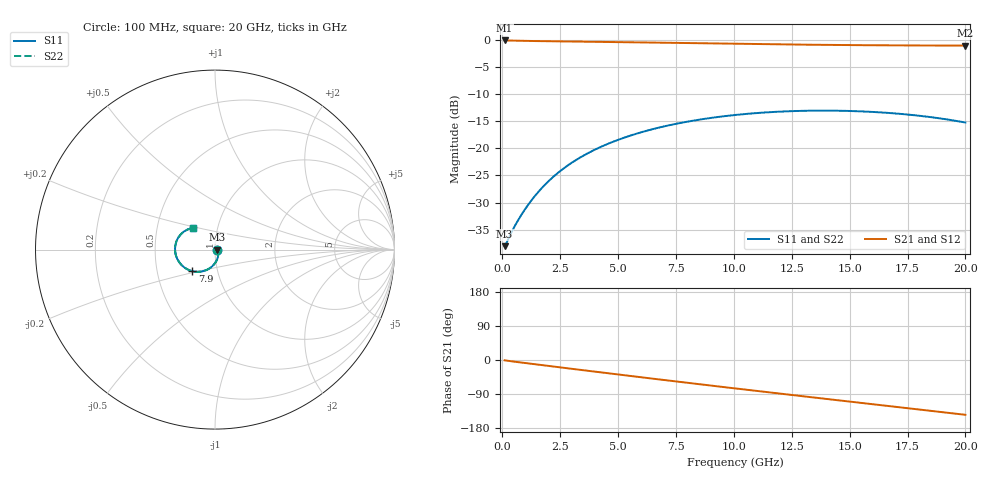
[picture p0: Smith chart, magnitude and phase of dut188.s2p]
! Touchstone file exported from HFSS 2026.1.0
!  File:  C:/ffzhzh/LocalFiles/Ansys_Project_Files/temp_train_TSV_RDL_188_1783058159_45820.aedt
!  Generated:  02:03:16 PM Jul  3, 2026
!  Design:  TSV_RDL
!  Project:  temp_train_TSV_RDL_188_1783058159_45820
! Variables:
!  h_bsmrdl = 5.64um
!  h_ox = 20um
!  h_rdl = 5um
!  h_sub = 50.85um
!  h_tmrdl = 2.03um
!  h_tsv = 50.85um
!  h_via = 3um
!  l_bsmrdl = 260.94um
!  l_sub = 2569.46um
!  l_tmrdl = 309.19um
!  m_sub = 200um
!  pitch = 27.53um
!  r_tsv = 9.57um
!  s_tmrdl = 10um
!  w_bsmrdl = 24.82um
!  w_sub = 500um
!  w_tmrdl = 25.14um
!  x_tsv_center1 = 321.76um
!  x_tsv_center2 = 607.52um
!  x_tsv_center3 = 941.85um
!  x_tsv_center4 = 1227.61um
!  x_tsv_center5 = 1561.94um
!  x_tsv_center6 = 1847.7um
# GHz S MA R 50.000000
! Terminal data exported
! Port[1] = TM_RDL1_1_T1
! Port[2] = TM_RDL5_1_T1
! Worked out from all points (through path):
!   200 points, 100 MHz to 20 GHz, reference 50 ohm
!   highest |S21| = -0.11 dB at 100 MHz (marker M1); lowest = -1.1 dB at 20 GHz (marker M2)
!   group delay of S21, straight-line fit = 19.9 ps
!   lowest |S11| = -38.1 dB at 100 MHz (marker M3), VSWR 1.03, Z = 51.3 - j0.0286 ohm
!   |S11| at or under -10 dB: start of sweep to end of sweep
!   |S22| runs from -38.1 to -13.0 dB; largest |S21 - S12| = 2.9e-14
!   S11 on the Smith chart (normalised r, x): 100 MHz: 1.03, -0.00; 7.9 GHz: 0.75, -0.19; 20 GHz: 0.76, +0.19
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0.1  0.01251 -1.3  0.9875 -0.9  0.9875 -0.9  0.01251 -1.3
! Gamma 0 0 0 0
! Port Impedance 50 0 50 0
0.5  0.01852 -22.2  0.9822 -4.2  0.9822 -4.2  0.01852 -22.2
0.8  0.02389 -38.5  0.9792 -6.5  0.9792 -6.5  0.02388 -38.5
1.2  0.03186 -54.1  0.9765 -9.6  0.9765 -9.6  0.03186 -54.1
1.6  0.04059 -65.0  0.9741 -12.6  0.9741 -12.6  0.04059 -65.0
2  0.0498 -73.4  0.9719 -15.7  0.9719 -15.7  0.0498 -73.4
2.5  0.06165 -81.8  0.969 -19.5  0.969 -19.5  0.06164 -81.8
3  0.07361 -88.9  0.9661 -23.2  0.9661 -23.2  0.0736 -88.9
3.5  0.08549 -95.2  0.9631 -27.0  0.9631 -27.0  0.08549 -95.2
4.2  0.1018 -103.0  0.9589 -32.2  0.9589 -32.2  0.1018 -103.0
5  0.1197 -111.1  0.9539 -38.2  0.9539 -38.2  0.1196 -111.1
5.9  0.1385 -119.5  0.9481 -44.8  0.9481 -44.8  0.1385 -119.5
6.8  0.1558 -127.4  0.9421 -51.5  0.9421 -51.5  0.1558 -127.4
7.9  0.1746 -136.6  0.9347 -59.5  0.9347 -59.5  0.1746 -136.6
9  0.1905 -145.4  0.9272 -67.4  0.9272 -67.4  0.1905 -145.4
10.1  0.2033 -153.9  0.92 -75.3  0.92 -75.3  0.2033 -153.9
11.7  0.2163 -165.9  0.9102 -86.6  0.9102 -86.6  0.2162 -165.9
13.4  0.2224 -178.2  0.9014 -98.6  0.9014 -98.6  0.2223 -178.3
15  0.2209 170.4  0.8948 -109.7  0.8948 -109.7  0.2208 170.3
16.7  0.2118 158.6  0.8899 -121.6  0.8899 -121.6  0.2117 158.5
18.3  0.1963 147.6  0.8871 -132.7  0.8871 -132.7  0.1962 147.5
20  0.1728 136.2  0.8856 -144.6  0.8856 -144.6  0.1727 136.1
